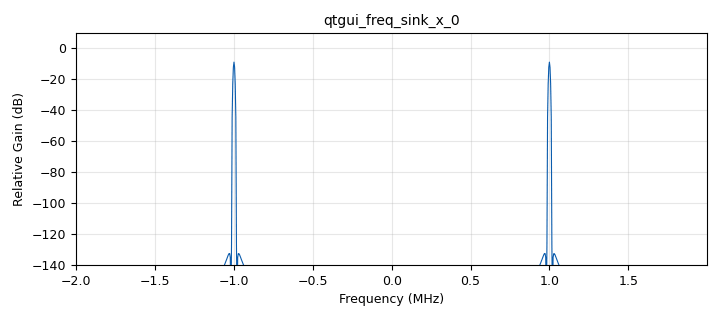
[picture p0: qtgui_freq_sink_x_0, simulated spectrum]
options:
  parameters:
    generate_options: qt_gui
    id: top_block
    output_language: python
  states: {}

blocks:
- name: samp_rate
  id: variable
  parameters:
    value: 4e6
  states: {}
- name: analog_sig_source_x_0
  id: analog_sig_source_x
  parameters:
    amp: '1'
    freq: 3e6
    offset: '0'
    phase: '0'
    samp_rate: samp_rate
    type: complex
    waveform: analog.GR_COS_WAVE
  states: {}
- name: analog_sig_source_x_1
  id: analog_sig_source_x
  parameters:
    amp: '1'
    freq: 5e6
    offset: '0'
    phase: '0'
    samp_rate: samp_rate
    type: complex
    waveform: analog.GR_COS_WAVE
  states: {}
- name: blocks_add_xx_0
  id: blocks_add_xx
  parameters:
    type: complex
  states: {}
- name: qtgui_freq_sink_x_0
  id: qtgui_freq_sink_x
  parameters:
    bw: samp_rate
    fc: '0'
    fftsize: '1024'
    type: complex
  states: {}
- name: zeromq_pub_sink_0
  id: zeromq_pub_sink
  parameters:
    address: tcp://127.0.0.1:5000
    timeout: '100'
    type: complex
  states: {}

connections:
- [analog_sig_source_x_0, '0', blocks_add_xx_0, '0']
- [analog_sig_source_x_1, '0', blocks_add_xx_0, '1']
- [blocks_add_xx_0, '0', qtgui_freq_sink_x_0, '0']
- [blocks_add_xx_0, '0', zeromq_pub_sink_0, '0']

metadata:
  file_format: 1
